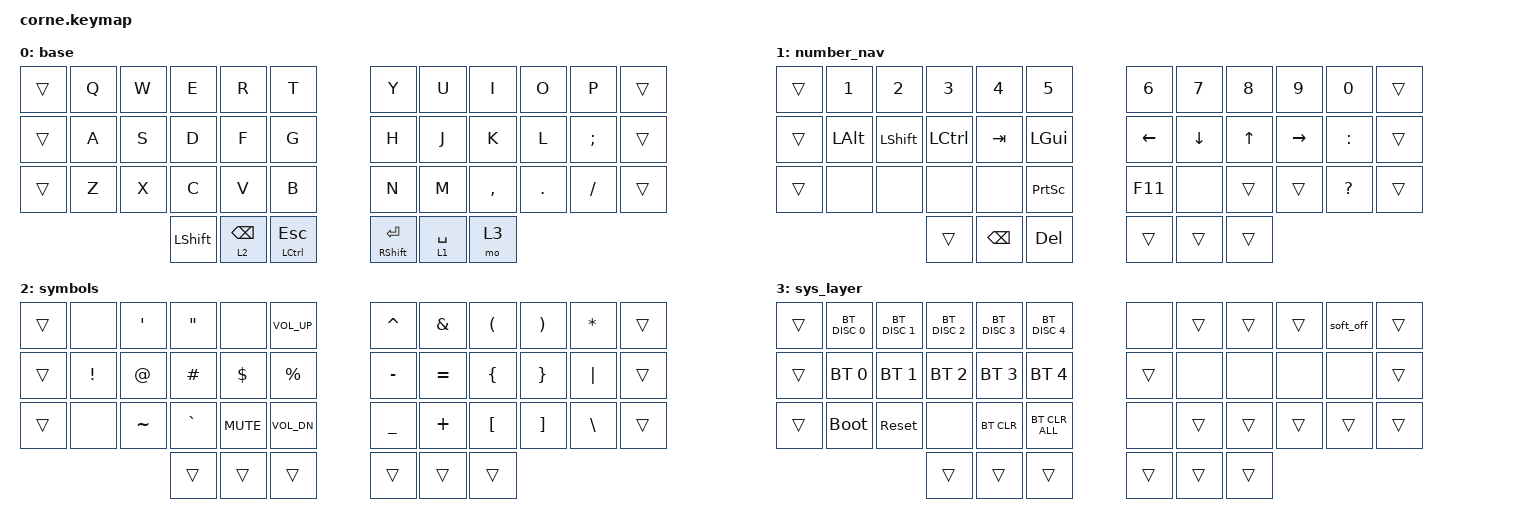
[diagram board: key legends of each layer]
/*
 * Copyright (c) 2020 The ZMK Contributors
 *
 * SPDX-License-Identifier: MIT
 */

#include <behaviors.dtsi>
#include <dt-bindings/zmk/bt.h>
#include <dt-bindings/zmk/keys.h>

&mt {
    quick-tap-ms = <175>;
    require-prior-idle-ms = <150>;
};

&lt { tapping-term-ms = <200>; };

/ {
    combos {
        compatible = "zmk,combos";

        combo_shift {
            bindings = <&kp LEFT_SHIFT>;
            key-positions = <25 26>;
        };

        combo_rshift {
            bindings = <&kp RIGHT_SHIFT>;
            key-positions = <33 34>;
        };

        combo_colon {
            bindings = <&kp COLON>;
            key-positions = <32 33>;
        };
    };

    conditional_layers { compatible = "zmk,conditional-layers"; };

    keymap {
        compatible = "zmk,keymap";

        base {
            bindings = <
&trans  &kp Q  &kp W  &kp E           &kp R            &kp T                      &kp Y                  &kp U        &kp I      &kp O    &kp P     &trans
&trans  &kp A  &kp S  &kp D           &kp F            &kp G                      &kp H                  &kp J        &kp K      &kp L    &kp SEMI  &trans
&trans  &kp Z  &kp X  &kp C           &kp V            &kp B                      &kp N                  &kp M        &kp COMMA  &kp DOT  &kp FSLH  &trans
                      &kp LEFT_SHIFT  &lt 2 BACKSPACE  &mt LEFT_CONTROL ESCAPE    &mt RIGHT_SHIFT ENTER  &lt 1 SPACE  &mo 3
            >;
        };

        number_nav {
            bindings = <
&trans  &kp N1    &kp N2     &kp N3     &kp N4         &kp N5             &kp NUMBER_6  &kp NUMBER_7  &kp N8  &kp N9     &kp N0        &trans
&trans  &kp LALT  &kp LSHFT  &kp LCTRL  &kp TAB        &kp LGUI           &kp LEFT      &kp DOWN      &kp UP  &kp RIGHT  &kp COLON     &trans
&trans  &none     &none      &none      &none          &kp PRINTSCREEN    &kp F11       &none         &trans  &trans     &kp QUESTION  &trans
                             &trans     &kp BACKSPACE  &kp DELETE         &trans        &trans        &trans
            >;
        };

        symbols {
            bindings = <
&trans  &none            &kp SINGLE_QUOTE  &kp DOUBLE_QUOTES  &none       &kp C_VOL_UP    &kp CARET       &kp AMPERSAND  &kp LEFT_PARENTHESIS  &kp RIGHT_PARENTHESIS  &kp ASTERISK   &trans
&trans  &kp EXCLAMATION  &kp AT_SIGN       &kp HASH           &kp DOLLAR  &kp PERCENT     &kp MINUS       &kp EQUAL      &kp LEFT_BRACE        &kp RIGHT_BRACE        &kp PIPE       &trans
&trans  &none            &kp TILDE         &kp GRAVE          &kp K_MUTE  &kp C_VOL_DN    &kp UNDERSCORE  &kp PLUS       &kp LEFT_BRACKET      &kp RIGHT_BRACKET      &kp BACKSLASH  &trans
                                           &trans             &trans      &trans          &trans          &trans         &trans
            >;
        };

        sys_layer {
            bindings = <
&trans  &bt BT_DISC 0  &bt BT_DISC 1  &bt BT_DISC 2  &bt BT_DISC 3  &bt BT_DISC 4     &none   &trans  &trans  &trans  &soft_off  &trans
&trans  &bt BT_SEL 0   &bt BT_SEL 1   &bt BT_SEL 2   &bt BT_SEL 3   &bt BT_SEL 4      &trans  &none   &none   &none   &none      &trans
&trans  &bootloader    &sys_reset     &none          &bt BT_CLR     &bt BT_CLR_ALL    &none   &trans  &trans  &trans  &trans     &trans
                                      &trans         &trans         &trans            &trans  &trans  &trans
            >;
        };
    };
};
